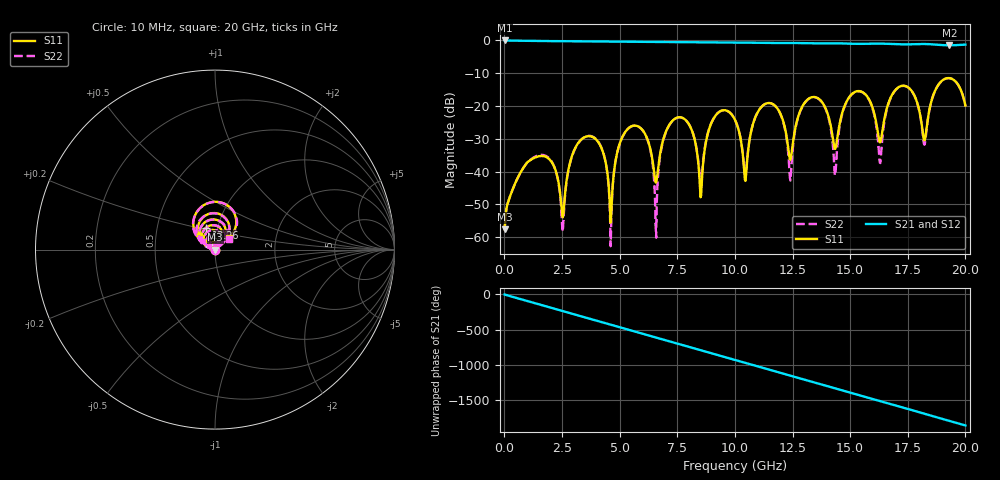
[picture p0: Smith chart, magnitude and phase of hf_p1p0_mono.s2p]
! Stitch-density study - 40 x 12 mm symmetric stripline, cut at x=20 mm
! Case: hf_p1p0_mono
! Sweep: 10 MHz - 20 GHz, 25 MHz step, 4 cores
# GHz S MA R 50.000000
! Terminal data exported
! Port[1] = U1.PAD1.SIG
! Port[2] = U2.PAD1.SIG
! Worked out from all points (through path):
!   801 points, 10 MHz to 20 GHz, reference 50 ohm
!   highest |S21| = -0.01 dB at 10 MHz (marker M1); lowest = -1.5 dB at 19.31 GHz (marker M2)
!   group delay of S21, straight-line fit = 259 ps
!   lowest |S11| = -57.6 dB at 10 MHz (marker M3), VSWR 1.00, Z = 50.1 + j0.0207 ohm
!   |S11| at or under -10 dB: start of sweep to end of sweep
!   |S22| runs from -62.8 to -11.5 dB; largest |S21 - S12| = 2.7e-13
!   S11 on the Smith chart (normalised r, x): 10 MHz: 1.00, +0.00; 13.26 GHz: 0.88, +0.22; 20 GHz: 1.15, +0.16
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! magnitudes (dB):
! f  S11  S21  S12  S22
! 10 MHz  -57.6  0.0  0.0  -57.6
! 1.535 GHz  -35.3  -0.2  -0.2  -35.0
! 2.535 GHz  -54.0  -0.2  -0.2  -58.3
! 3.36 GHz  -30.1  -0.3  -0.3  -30.1
! 4.61 GHz  -55.6  -0.4  -0.4  -62.8
! 5.485 GHz  -26.3  -0.4  -0.4  -26.3
! 6.685 GHz  -38.1  -0.5  -0.5  -39.7
! 7.36 GHz  -24.1  -0.5  -0.5  -24.1
! 8.51 GHz  -47.9  -0.6  -0.6  -43.7
! 10.01 GHz  -24.3  -0.7  -0.7  -24.3
! 10.46 GHz  -42.9  -0.7  -0.7  -41.3
! 11.71 GHz  -19.7  -0.8  -0.8  -19.8
! 12.41 GHz  -36.4  -0.8  -0.8  -42.7
! 13.26 GHz  -17.5  -0.9  -0.9  -17.6
! 13.36 GHz  -17.3  -0.9  -0.9  -17.3
! 14.34 GHz  -33.1  -0.9  -0.9  -41.0
! 15.06 GHz  -16.5  -1.0  -1.0  -16.6
! 16.29 GHz  -31.1  -1.0  -1.0  -37.3
! 16.68 GHz  -18.7  -1.1  -1.1  -18.9
! 18.23 GHz  -30.5  -1.1  -1.1  -31.7
! 19.31 GHz  -11.5  -1.5  -1.5  -11.5
! 20 GHz  -19.9  -1.3  -1.3  -20.0
